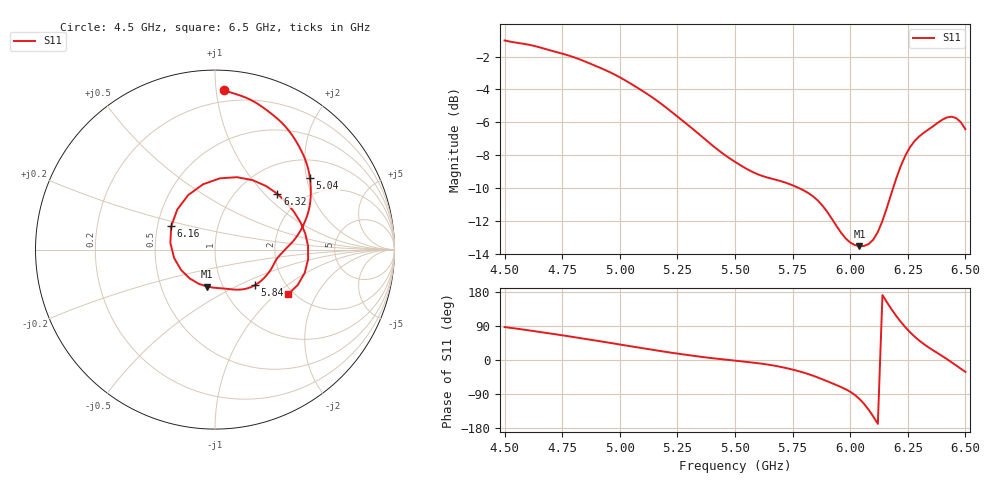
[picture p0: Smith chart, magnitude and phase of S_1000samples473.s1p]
! TOUCHSTONE file generated by CST MICROWAVE STUDIO
! Date and time: Fri Oct 28 07:03:18 2022
! Project name: L.cst
! Parameters = {Di=1.27; Epsilon_r=1.56; InnerDiameter=1.27; Length=2; Lf=10; Lg=60; OuterConductorThickness=0.2921; OuterDiameter=3.6; Wf=3; Wp=41.2; de=1.5; df=6.8; g=0.8; gx=1.61363; gy=3.95759; h=2.34; hf=1.524; px=12.4381; py=11.1903; w=9.7; wx=10.8244; wy=7.23272}
! Header version: 2018
! Port assignment regex: !\s*Touchstone port\s*([0-9]+)\s*=\s*(CST MWS port|CST DS port)\s*([0-9]+|Zmin|Zmax)\s*\(\"(.*)\"\)(\s*mode\s*([0-9]+))?.*
! Touchstone port assignment:
! Touchstone port 1 = CST MWS port 1 ("")
# GHz S DB R 50
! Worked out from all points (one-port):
!   101 points, 4.5 GHz to 6.5 GHz, reference 50 ohm
!   lowest |S11| = -13.5 dB at 6.04 GHz (marker M1), VSWR 1.53, Z = 42.1 - j18.1 ohm
!   |S11| at or under -10 dB: 5.778 GHz to 6.186 GHz (407.8 MHz wide, 6.82 % of centre)
!   S11 on the Smith chart (normalised r, x): 4.5 GHz: 0.12, +1.05; 5.04 GHz: 1.48, +2.09; 5.84 GHz: 1.42, -0.62; 6.16 GHz: 0.59, +0.17; 6.32 GHz: 1.50, +1.19; 6.5 GHz: 1.87, -1.21
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4.5  -1.02 86.9
4.62  -1.32 76.9
4.76  -1.86 64.3
4.88  -2.48 52.8
5  -3.26 40.9
5.04  -3.58 36.9
5.14  -4.47 27.2
5.26  -5.76 16.1
5.38  -7.15 6.4
5.5  -8.40 -1.7
5.76  -9.89 -26.8
5.84  -10.51 -41.7
5.9  -11.44 -56.0
6  -13.31 -83.8
6.04  -13.53 -102.6
6.08  -13.40 -131.2
6.1  -13.13 -149.1
6.14  -11.99 171.4
6.16  -11.16 151.8
6.18  -10.27 133.3
6.22  -8.64 100.4
6.26  -7.50 73.1
6.28  -7.13 61.5
6.32  -6.63 41.8
6.38  -6.03 17.9
6.42  -5.70 2.3
6.46  -5.74 -14.5
6.5  -6.41 -31.3
